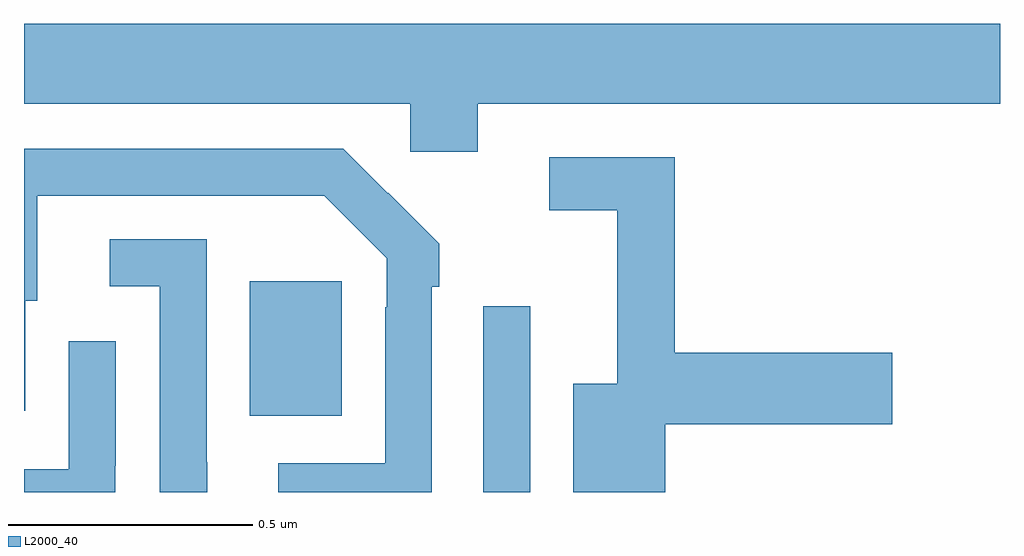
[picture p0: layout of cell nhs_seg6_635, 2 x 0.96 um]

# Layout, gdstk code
import gdstk
lib = gdstk.Library(unit=1e-6, precision=1e-09)
def R(c, l, rs):  # rectangles x0, y0, x1, y1
    for r in rs: c.add(gdstk.rectangle(r[:2], r[2:], *l))
def P(c, l, *ps):  # polygons
    for p in ps: c.add(gdstk.Polygon(p, *l))
L2000_40 = (2000, 40)

nhs_seg6_635 = lib.new_cell('nhs_seg6_635')
R(nhs_seg6_635, L2000_40, [(118.941,986.5,119.037,986.881), (118.463,986.657,118.651,986.932)])
P(nhs_seg6_635, L2000_40, [(118.93,987.296),(120,987.296),(120,987.46),(118,987.46),(118,987.296),(118.791,987.296),(118.791,987.198),(118.93,987.198)],
  [(118.836,986.921),(118.851,986.921),(118.851,987.009),(118.746,987.114),(118.745,987.113),(118.654,987.204),(118,987.204),(118,986.667),(118.003,986.667),(118.003,986.892),(118.027,986.892),(118.027,987.108),(118.615,987.108),(118.743,986.979),(118.743,986.879),(118.74,986.879),(118.74,986.559),(118.521,986.559),(118.521,986.5),(118.836,986.5)],
  [(119.314,986.639),(119.779,986.639),(119.779,986.786),(119.333,986.786),(119.333,987.186),(119.076,987.186),(119.076,987.078),(119.216,987.078),(119.216,986.722),(119.126,986.722),(119.126,986.5),(119.314,986.5)],
  [(118.375,986.561),(118.374,986.561),(118.374,987.018),(118.176,987.018),(118.176,986.922),(118.278,986.922),(118.278,986.5),(118.375,986.5)],
  [(118.187,986.554),(118.188,986.554),(118.188,986.809),(118.092,986.809),(118.092,986.547),(118,986.547),(118,986.5),(118.187,986.5)])

lib.write_gds('nhs_seg6_635.gds')
